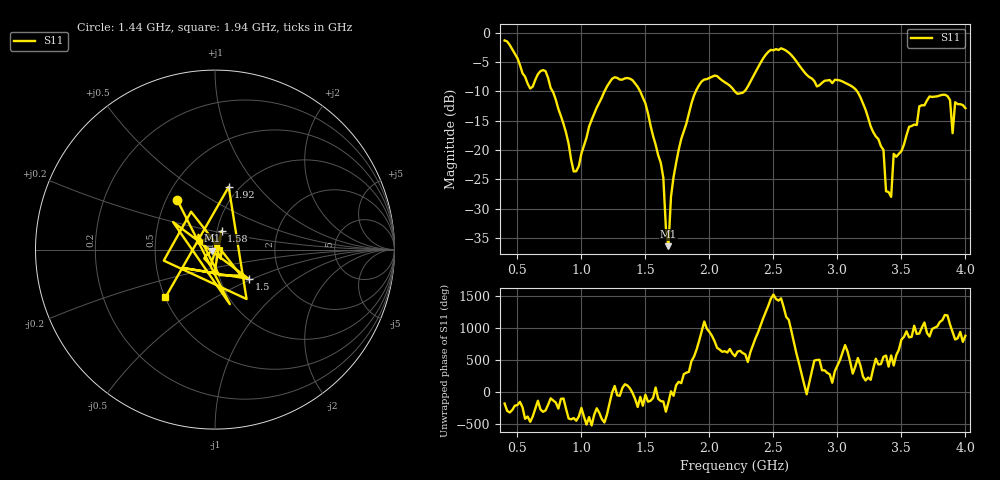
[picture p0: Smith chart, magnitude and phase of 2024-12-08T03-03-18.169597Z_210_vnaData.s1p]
!Created with skrf (http://scikit-rf.org).
# Hz S RI R 50.0
!freq ReS11 ImS11
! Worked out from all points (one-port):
!   181 points, 400 MHz to 4 GHz, reference 50 ohm
!   lowest |S11| = -36.4 dB at 1.68 GHz (marker M1), VSWR 1.03, Z = 48.6 - j0.518 ohm
!   |S11| at or under -10 dB: 774.9 MHz to 1.181 GHz (405.6 MHz wide, 41.5 % of centre); 1.459 GHz to 1.894 GHz (435 MHz wide, 25.9 % of centre); 3.153 GHz to end of sweep (the widest 3 of 4)
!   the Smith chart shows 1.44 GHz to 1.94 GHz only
!   S11 on the Smith chart (normalised r, x): 1.44 GHz: 0.57, +0.36; 1.5 GHz: 1.37, -0.48; 1.58 GHz: 1.05, +0.22; 1.92 GHz: 0.89, +0.72; 1.94 GHz: 0.50, -0.31
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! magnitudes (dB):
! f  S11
! 400 MHz  -1.3
! 600 MHz  -9.5
! 720 MHz  -6.6
! 860 MHz  -15.6
! 960 MHz  -23.6
! 1.3 GHz  -8.0
! 1.44 GHz  -9.3
! 1.5 GHz  -12.1
! 1.58 GHz  -19.1
! 1.64 GHz  -24.7
! 1.68 GHz  -36.4
! 1.7 GHz  -27.9
! 1.76 GHz  -20.0
! 1.92 GHz  -8.9
! 1.94 GHz  -8.3
! 2.2 GHz  -10.1
! 2.66 GHz  -4.3
! 3.1 GHz  -9.0
! 3.36 GHz  -20.0
! 3.38 GHz  -27.0
! 3.42 GHz  -28.0
! 3.44 GHz  -20.7
! 3.56 GHz  -16.1
! 3.72 GHz  -10.9
! 3.88 GHz  -11.5
! 3.9 GHz  -17.1
! 3.92 GHz  -11.9
! 4 GHz  -12.9
